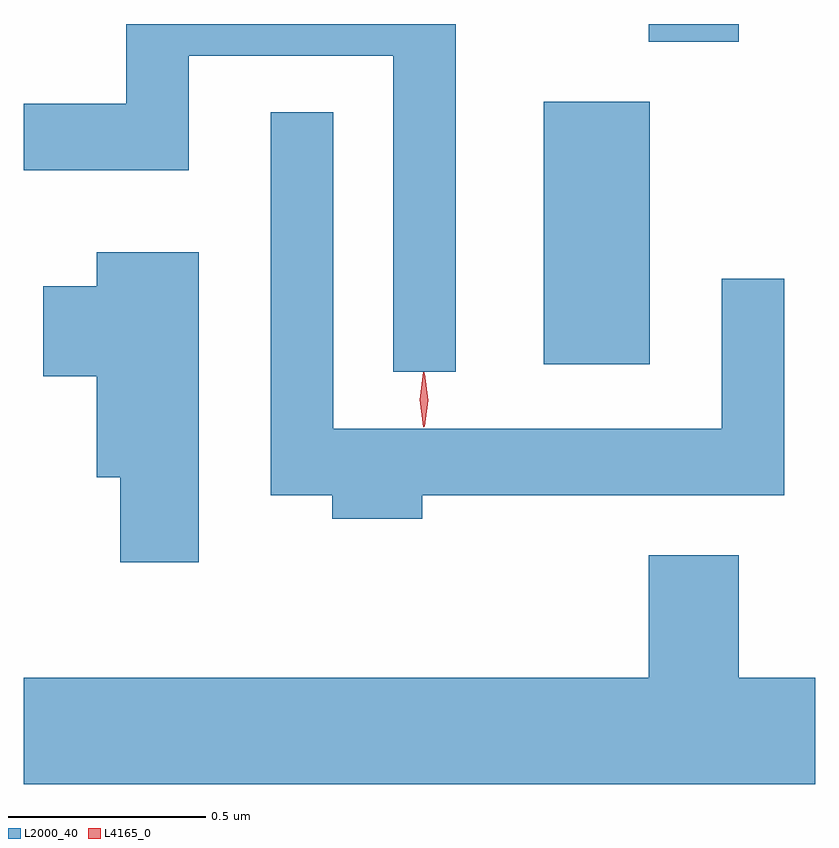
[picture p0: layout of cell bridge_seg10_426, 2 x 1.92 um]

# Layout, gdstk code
import gdstk
lib = gdstk.Library(unit=1e-6, precision=1e-09)
def R(c, l, rs):  # rectangles x0, y0, x1, y1
    for r in rs: c.add(gdstk.rectangle(r[:2], r[2:], *l))
def P(c, l, *ps):  # polygons
    for p in ps: c.add(gdstk.Polygon(p, *l))
L2000_40 = (2000, 40)
L4165_0 = (4165, 0)

bridge_seg10_426 = lib.new_cell('bridge_seg10_426')
R(bridge_seg10_426, L2000_40, [(1372.246,2130.516,1372.514,2131.179), (1372.511,2131.331,1372.739,2131.376)])
P(bridge_seg10_426, L2000_40, [(1372.024,2131.376),(1371.191,2131.376),(1371.191,2131.174),(1370.932,2131.174),(1370.932,2131.006),(1371.349,2131.006),(1371.349,2131.296),(1371.866,2131.296),(1371.866,2130.498),(1372.024,2130.498)],
  [(1371.939,2130.186),(1372.854,2130.186),(1372.854,2130.733),(1372.696,2130.733),(1372.696,2130.354),(1371.714,2130.354),(1371.714,2131.153),(1371.556,2131.153),(1371.556,2130.186),(1371.711,2130.186),(1371.711,2130.126),(1371.939,2130.126)],
  [(1371.374,2130.799),(1371.116,2130.799),(1371.116,2130.714),(1370.981,2130.714),(1370.981,2130.486),(1371.116,2130.486),(1371.116,2130.231),(1371.176,2130.231),(1371.176,2130.016),(1371.374,2130.016)],
  [(1372.932,2129.724),(1372.739,2129.724),(1372.739,2130.034),(1372.511,2130.034),(1372.511,2129.724),(1370.932,2129.724),(1370.932,2129.456),(1372.932,2129.456)])
P(bridge_seg10_426, L4165_0, [(1371.944,2130.36),(1371.944,2130.36),(1371.935,2130.426),(1371.944,2130.492),(1371.945,2130.493),(1371.945,2130.492),(1371.954,2130.426),(1371.945,2130.36)],
  [(1371.943,2130.357),(1371.942,2130.358),(1371.933,2130.427),(1371.942,2130.496),(1371.943,2130.496),(1371.944,2130.496),(1371.953,2130.427),(1371.944,2130.358)])

lib.write_gds('bridge_seg10_426.gds')
